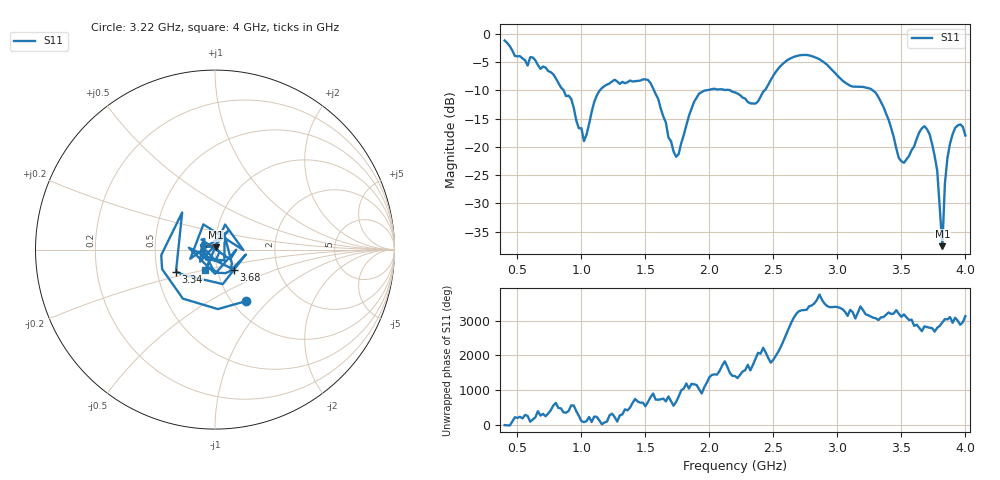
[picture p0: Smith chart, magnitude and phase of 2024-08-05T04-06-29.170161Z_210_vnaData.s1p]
!Created with skrf (http://scikit-rf.org).
# Hz S RI R 50.0
!freq ReS11 ImS11
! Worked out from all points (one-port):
!   181 points, 400 MHz to 4 GHz, reference 50 ohm
!   lowest |S11| = -37.6 dB at 3.82 GHz (marker M1), VSWR 1.03, Z = 50.5 + j1.23 ohm
!   |S11| at or under -10 dB: 861.3 MHz to 1.144 GHz (282.8 MHz wide, 28.2 % of centre); 1.567 GHz to 1.972 GHz (404.7 MHz wide, 22.9 % of centre); 3.276 GHz to end of sweep (the widest 3 of 4)
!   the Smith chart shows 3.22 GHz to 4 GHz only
!   S11 on the Smith chart (normalised r, x): 3.22 GHz: 1.16, -0.75; 3.34 GHz: 0.63, -0.16; 3.68 GHz: 1.20, -0.27; 4 GHz: 0.88, -0.20
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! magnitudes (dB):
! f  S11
! 400 MHz  -1.2
! 860 MHz  -9.9
! 920 MHz  -11.5
! 1.02 GHz  -19.0
! 1.14 GHz  -10.1
! 1.3 GHz  -8.9
! 1.54 GHz  -8.7
! 1.72 GHz  -20.8
! 1.76 GHz  -21.3
! 1.84 GHz  -14.5
! 1.92 GHz  -10.5
! 2.2 GHz  -10.4
! 2.36 GHz  -12.3
! 2.66 GHz  -4.1
! 2.86 GHz  -4.5
! 3.1 GHz  -9.2
! 3.22 GHz  -9.5
! 3.34 GHz  -12.1
! 3.48 GHz  -22.0
! 3.56 GHz  -21.6
! 3.68 GHz  -16.3
! 3.72 GHz  -17.8
! 3.78 GHz  -24.2
! 3.82 GHz  -37.6
! 3.84 GHz  -26.5
! 3.88 GHz  -19.4
! 3.94 GHz  -16.2
! 4 GHz  -18.0
